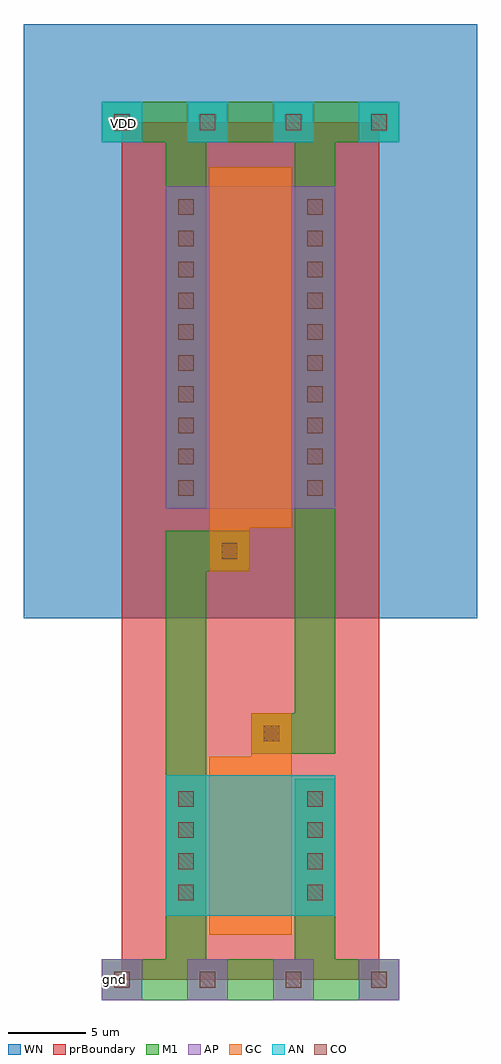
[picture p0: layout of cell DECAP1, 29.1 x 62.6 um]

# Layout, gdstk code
import gdstk
lib = gdstk.Library(unit=1e-6, precision=1e-09)
def R(c, l, rs):  # rectangles x0, y0, x1, y1
    for r in rs: c.add(gdstk.rectangle(r[:2], r[2:], *l))
def A(c, l, x, y, w, h, nx, ny, dx, dy):  # array of equal rectangles
    R(c, l, [(x+i*dx, y+j*dy, x+i*dx+w, y+j*dy+h) for i in range(nx) for j in range(ny)])
AP = (3, 1)
AN = (3, 2)
GC = (8, 1)
CO = (11, 0)
M1 = (13, 0)
WN = (140, 0)
prBoundary = (235, 0)

cont_n_5 = lib.new_cell('cont_n$5')
R(cont_n_5, AN, [(-1.3,-1.3,1.3,1.3)])
R(cont_n_5, CO, [(-0.5,-0.5,0.5,0.5)])
R(cont_n_5, M1, [(-1.3,-1.3,1.3,1.3)])

cont_p_5 = lib.new_cell('cont_p$5')
R(cont_p_5, AP, [(-1.3,-1.3,1.3,1.3)])
R(cont_p_5, CO, [(-0.5,-0.5,0.5,0.5)])
R(cont_p_5, M1, [(-1.3,-1.3,1.3,1.3)])

fet_p_4 = lib.new_cell('fet_p$4')
R(fet_p_4, AP, [(-5.45,-10.35,5.45,10.35)])
A(fet_p_4, CO, -4.65, -9.5, 1, 1, 1, 10, 0, 2)
A(fet_p_4, CO, 3.65, -9.5, 1, 1, 1, 10, 0, 2)
R(fet_p_4, M1, [(-5.45,-10.3,-2.85,10.3), (2.85,-10.3,5.45,10.3)])
fet_p_4.add(gdstk.FlexPath([(0,-11.55),(0,11.55)], 5.3, ends="flush", simple_path=True, layer=8, datatype=1))  # GC

cont_g_4 = lib.new_cell('cont_g$4')
R(cont_g_4, GC, [(-1.3,-1.3,1.3,1.3)])
R(cont_g_4, CO, [(-0.5,-0.5,0.5,0.5)])
R(cont_g_4, M1, [(-1.3,-1.3,1.3,1.3)])

fet_n_1_4 = lib.new_cell('fet_n$1$4')
R(fet_n_1_4, AN, [(-5.45,-4.5,5.45,4.5)])
A(fet_n_1_4, CO, -4.65, -3.5, 1, 1, 1, 4, 0, 2)
A(fet_n_1_4, CO, 3.65, -3.5, 1, 1, 1, 4, 0, 2)
R(fet_n_1_4, M1, [(-5.45,-4.3,-2.85,4.3), (2.85,-4.3,5.45,4.3)])
fet_n_1_4.add(gdstk.FlexPath([(0,-5.7),(0,5.7)], 5.3, ends="flush", simple_path=True, layer=8, datatype=1))  # GC

decap1 = lib.new_cell('DECAP1')
R(decap1, GC, [(8.8,14.3,11.4,14.5), (6.1,28.8,8.7,29)])
R(decap1, WN, [(-5.8,23.2,23.3,61.3)])
R(decap1, prBoundary, [(0.5,0,17,55)])
decap1.add(gdstk.FlexPath([(12.9,5.6),(12.9,0)], 2.6, ends="extended", simple_path=True, layer=13, datatype=0))  # M1
decap1.add(gdstk.FlexPath([(4.6,5.6),(4.6,0)], 2.6, ends="extended", simple_path=True, layer=13, datatype=0))  # M1
decap1.add(gdstk.FlexPath([(4.6,49.547),(4.6,54.997)], 2.6, ends="extended", simple_path=True, layer=13, datatype=0))  # M1
decap1.add(gdstk.FlexPath([(12.9,49.55),(12.9,55)], 2.6, ends="extended", simple_path=True, layer=13, datatype=0))  # M1
decap1.add(gdstk.FlexPath([(10.1,15.8),(12.9,15.8),(12.9,31.5)], 2.6, ends="extended", simple_path=True, layer=13, datatype=0))  # M1
decap1.add(gdstk.FlexPath([(7.4,27.5),(4.6,27.5),(4.6,11.7)], 2.6, ends="extended", simple_path=True, layer=13, datatype=0))  # M1
decap1.add(gdstk.FlexPath([(0.5,55),(17,55)], 2.6, ends="extended", simple_path=True, layer=13, datatype=0))  # M1
decap1.add(gdstk.FlexPath([(0.5,0),(17,0)], 2.6, ends="extended", simple_path=True, layer=13, datatype=0))  # M1
decap1.add(gdstk.Reference(cont_n_5, (0.5,55)))
decap1.add(gdstk.Reference(cont_n_5, (6,55)))
decap1.add(gdstk.Reference(cont_n_5, (11.5,55)))
decap1.add(gdstk.Reference(cont_n_5, (17,55)))
decap1.add(gdstk.Reference(cont_p_5, (0.5,0)))
decap1.add(gdstk.Reference(cont_p_5, (6,0)))
decap1.add(gdstk.Reference(cont_p_5, (11.5,0)))
decap1.add(gdstk.Reference(cont_p_5, (17,0)))
decap1.add(gdstk.Reference(fet_p_4, (8.75,40.55)))
decap1.add(gdstk.Reference(cont_g_4, (10.1,15.8)))
decap1.add(gdstk.Reference(cont_g_4, (7.4,27.5)))
decap1.add(gdstk.Reference(fet_n_1_4, (8.75,8.6)))
decap1.add(gdstk.Label('VDD', (0.6,54.9), layer=48, texttype=0))
decap1.add(gdstk.Label('gnd', (0,0), layer=48, texttype=0))

lib.write_gds('DECAP1.gds')
